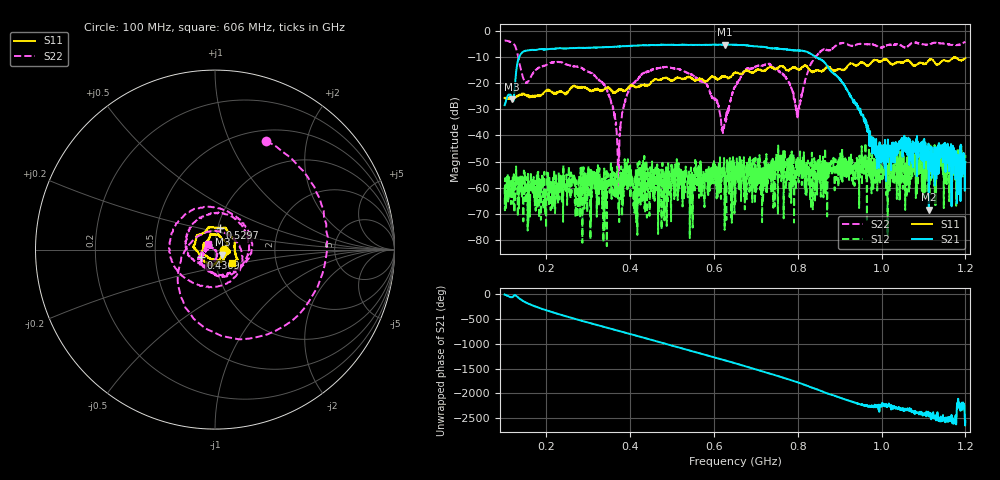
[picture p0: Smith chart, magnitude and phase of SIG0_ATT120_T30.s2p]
# Hz S DB R 50
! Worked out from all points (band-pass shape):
!   1601 points, 100 MHz to 1.2 GHz, reference 50 ohm
!   highest |S21| = -5.07 dB at 625.9 MHz (marker M1); lowest = -68.5 dB at 1.113 GHz (marker M2)
!   |S21| within 3 dB of the highest: 142.4 MHz to 823.9 MHz (681.5 MHz wide, 141 % of centre)
!   lowest |S11| = -26.0 dB at 117.9 MHz (marker M3), VSWR 1.11, Z = 54.2 - j3.05 ohm
!   |S11| at or under -10 dB: start of sweep to 1.172 GHz; 1.172517 GHz to 1.173346 GHz (828.6 kHz wide, 0.0706 % of centre); 1.176 GHz to end of sweep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
!   |S22| runs from -61.2 to -3.5 dB; largest |S21 - S12| = 0.56
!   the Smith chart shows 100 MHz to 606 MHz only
!   S11 on the Smith chart (normalised r, x): 100 MHz: 1.11, -0.01; 436.9 MHz: 0.85, -0.07; 529.7 MHz: 1.03, +0.25; 606 MHz: 1.19, -0.18
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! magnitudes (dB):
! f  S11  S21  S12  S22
! 100 MHz  -25.6  -28.3  -59.9  -3.5
! 117.9 MHz  -26.0  -25.7  -58.0  -4.3
! 144 MHz  -24.2  -7.9  -65.0  -17.6
! 283.6 MHz  -21.8  -6.4  -66.8  -14.1
! 342 MHz  -21.8  -6.0  -58.0  -21.6
! 370.9 MHz  -22.6  -5.8  -61.2  -61.2
! 395.6 MHz  -21.4  -5.6  -55.2  -23.4
! 436.9 MHz  -20.7  -5.3  -65.4  -15.6
! 467.1 MHz  -18.8  -5.2  -52.9  -14.2
! 529.7 MHz  -18.3  -5.1  -62.7  -15.4
! 606 MHz  -18.4  -5.1  -64.2  -26.5
! 625.9 MHz  -17.2  -5.1  -53.6  -35.0
! 650 MHz  -15.8  -5.2  -51.9  -21.2
! 731.1 MHz  -13.9  -6.4  -56.0  -12.4
! 773.1 MHz  -14.8  -7.0  -56.9  -18.0
! 799.9 MHz  -14.5  -7.3  -47.9  -30.4
! 833.6 MHz  -15.6  -8.8  -46.6  -11.8
! 907.8 MHz  -14.9  -20.0  -49.9  -4.4
! 988.9 MHz  -11.1  -52.6  -54.9  -5.7
! 1.017 GHz  -11.6  -43.7  -50.5  -5.1
! 1.113 GHz  -11.1  -68.5  -53.0  -5.0
! 1.2 GHz  -10.3  -50.2  -47.6  -4.0
